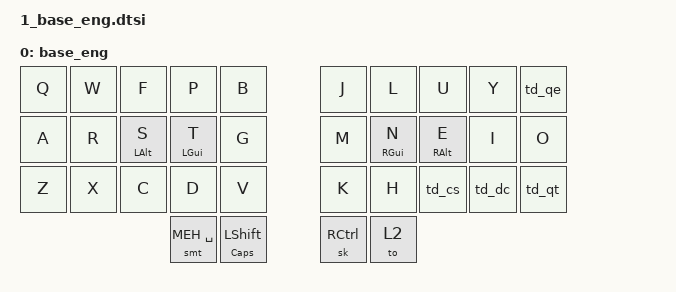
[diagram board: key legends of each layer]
/*
 * English Base Layer - Colemak-DH
*/

// Layers
#define ENG    0
#define HEB    1
#define SYM    2
#define KBNV   3
#define MSNV   4	
#define BLT    5

/ {
  keymap {
    compatible = "zmk,keymap";

    base_eng {
      // label = "ENG";
      bindings = <
    &kp Q           &kp W           &kp F           &kp P           &kp B              &kp J           &kp L           &kp U           &kp Y           &td_qe
    &kp A           &kp R           &hm LALT S      &hm LGUI T      &kp G              &kp M           &hm RGUI N      &hm RALT E      &kp I           &kp O
    &kp Z           &kp X           &kp C           &kp D           &kp V              &kp K           &kp H           &td_cs          &td_dc          &td_qt
                                    &smt MEH SPACE          &mt CAPS LSHIFT            &sk RCTRL               &to 2
      >;
    };
  };
};
/*
KEYMAP DRAWER
 ENGLISH:
   - [Q, W, F, P, B, J, L, U, Y, { t: "?", h: "!" }]
   - [A, R, { t: S, h: "⌥" }, { t: T, h: "⊞" }, G, M, { t: N, h: "⊞" }, { t: E, h: "⌥" }, I, O]
   - [Z, X, C, D, V, K, H, { t: ",", h: ";" }, { t: ".", h: ":" }, { t: "'", h: '"' }]
   - [{ t: SPACE, h: "MEH" }, { t: "⇧", h: CAPS }, { t: CTRL, h: sticky }, SYMBOL]
*/

/*
*╭───────────────┬───────────────┬───────────────┬───────────────┬───────────────╮  ╭───────────────┬───────────────┬───────────────┬───────────────┬───────────────╮
* 0               1               2               3               4                  5               6               7               8               9
* t: Q            t: W            t: F            t: P            t: B               t: J            t: L            t: U            t: Y            t: ?
* h:              h:              h:              h:              h:                 h:              h:              h:              h:              h: !
* s:              s:              s:              s:              s:                 s:              s:              s:              s:              s:
*├───────────────┼───────────────┼───────────────┼───────────────┼───────────────┤  ├───────────────┼───────────────┼───────────────┼───────────────┼───────────────┤
* 10              11              12              13              14                 15              16              17              18              19
* t: A            t: R            t: S            t: T            t: G               t: M            t: N            t: E            t: I            t: O
* h:              h:              h: LALT         h: LGUI         h:                 h:              h: RGUI         h: RALT         h:              h:
* s:              s:              s:              s:              s:                 s:              s:              s:              s:              s:
*├───────────────├───────────────┼───────────────┼───────────────┼───────────────┤  ├───────────────┼───────────────┼───────────────┼───────────────┼───────────────┤
* 20              21              22              23              24                 25              26              27              28              29
* t: Z            t: X            t: C            t: D            t: V               t: K            t: H            t: ,            t: .            t: '
* h:              h:              h:              h:              h:                 h:              h:              h: ;            h: :            h: "
* s:              s:              s:              s:              s:                 s:              s:              s:              s:              s:
*╰───────────────┴───────────────┼───────────────┴───────┬───────┴───────────────┤  ├───────────────┴───────┬───────┴───────────────┼───────────────┴───────────────┤
*                                 30                      31                         32                      33
*                                 t: SPACE                t: LSHIFT                  t: RCTRL                t: SYMBOL
*                                 h: MEH                  h: CAPS                    h:                      h:
*                                 s:                      s:                         s:                      s:
*                                ╰───────────────────────┴───────────────────────╯  ╰───────────────────────┴───────────────────────╯
*/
